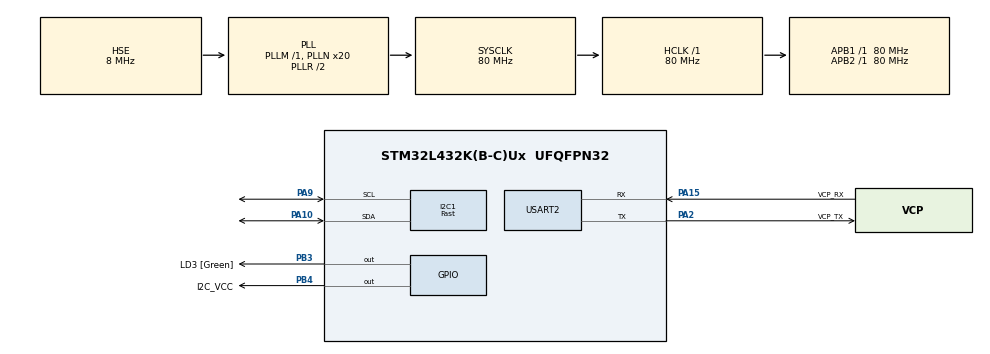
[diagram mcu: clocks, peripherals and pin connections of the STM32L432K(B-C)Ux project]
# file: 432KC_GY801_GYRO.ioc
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I2C1.I2C_Speed_Mode=I2C_Fast
I2C1.Timing=0x00702991
Mcu.Family=STM32L4
Mcu.Name=STM32L432K(B-C)Ux
Mcu.Package=UFQFPN32
NVIC.PriorityGroup=NVIC_PRIORITYGROUP_4
NVIC.RCC_IRQn=true\:0\:0\:false\:false\:true\:true\:false
NVIC.TIM6_DAC_IRQn=true\:0\:0\:false\:false\:true\:true\:true
PA0.GPIO_Label=MCO [High speed clock in]
PA0.Mode=HSE-External-Clock-Source-for-LittleOrca
PA0.Signal=RCC_CK_IN
PA10.Mode=I2C
PA10.Signal=I2C1_SDA
PA13\ (JTMS-SWDIO).GPIO_Label=SWDIO
PA13\ (JTMS-SWDIO).Mode=Serial_Wire
PA13\ (JTMS-SWDIO).Signal=SYS_JTMS-SWDIO
PA14\ (JTCK-SWCLK).GPIO_Label=SWCLK
PA14\ (JTCK-SWCLK).Mode=Serial_Wire
PA14\ (JTCK-SWCLK).Signal=SYS_JTCK-SWCLK
PA15\ (JTDI).GPIO_Label=VCP_RX
PA15\ (JTDI).Mode=Asynchronous
PA15\ (JTDI).Signal=USART2_RX
PA2.GPIO_Label=VCP_TX
PA2.Mode=Asynchronous
PA2.Signal=USART2_TX
PA9.Mode=I2C
PA9.Signal=I2C1_SCL
PB3\ (JTDO-TRACESWO).GPIO_Label=LD3 [Green]
PB3\ (JTDO-TRACESWO).Signal=GPIO_Output
PB4\ (NJTRST).GPIO_Label=I2C_VCC
PB4\ (NJTRST).Signal=GPIO_Output
PC14-OSC32_IN\ (PC14).Mode=LSE-External-Oscillator
PC14-OSC32_IN\ (PC14).Signal=RCC_OSC32_IN
PC15-OSC32_OUT\ (PC15).Mode=LSE-External-Oscillator
PC15-OSC32_OUT\ (PC15).Signal=RCC_OSC32_OUT
ProjectManager.HeapSize=0x200
ProjectManager.StackSize=0x400
ProjectManager.TargetToolchain=STM32CubeIDE
RCC.ADCFreq_Value=32000000
RCC.AHBFreq_Value=80000000
RCC.APB1Freq_Value=80000000
RCC.APB1TimFreq_Value=80000000
RCC.APB2Freq_Value=80000000
RCC.APB2TimFreq_Value=80000000
RCC.CortexFreq_Value=80000000
RCC.HCLKFreq_Value=80000000
RCC.HSE_VALUE=8000000
RCC.HSI16_VALUE=16000000
RCC.HSI48_VALUE=48000000
RCC.HSI_VALUE=16000000
RCC.MSI_VALUE=4000000
RCC.PLLMUL=RCC_PLLMUL_4
RCC.PLLN=20
RCC.PLLSourceVirtual=RCC_PLLSOURCE_HSE
RCC.SYSCLKFreq_VALUE=80000000
RCC.SYSCLKSource=RCC_SYSCLKSOURCE_PLLCLK
RCC.USBFreq_Value=32000000
RCC.VCOOutputFreq_Value=160000000
TIM6.Period=10000-1
TIM6.Prescaler=400-1
USART2.VirtualMode-Asynchronous=VM_ASYNC
VP_TIM6_VS_ClockSourceINT.Mode=Enable_Timer
board=NUCLEO-L432KC

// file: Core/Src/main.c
/* USER CODE BEGIN Header */
/**
  ******************************************************************************
  * @file           : main.c
  * @brief          : Main program body
  ******************************************************************************
  * @attention
  *
  * Copyright (c) 2021 STMicroelectronics.
  * All rights reserved.
  *
  * This software is licensed under terms that can be found in the LICENSE file
  * in the root directory of this software component.
  * If no LICENSE file comes with this software, it is provided AS-IS.
  *
  ******************************************************************************
  */
/* USER CODE END Header */
#include "main.h"

/* USER CODE BEGIN Includes */
#include <stdio.h>
#include <stdbool.h>
#include "L3G4200D.h"      // Gyro Module include
#include "ADXL345.h"       // Acc Module include
#include "HMC5883L.h"      // Compass Module include
#include "BMP180.h"        // Barometer Module include
// code upload Github
/* USER CODE END Includes */

I2C_HandleTypeDef hi2c1;

TIM_HandleTypeDef htim6;

UART_HandleTypeDef huart2;

/* USER CODE BEGIN PV */
volatile bool GyroData=false;

/* USER CODE END PV */

void SystemClock_Config(void);
static void MX_GPIO_Init(void);
static void MX_USART2_UART_Init(void);
static void MX_I2C1_Init(void);
static void MX_TIM6_Init(void);
/* USER CODE BEGIN PFP */
void HAL_TIM_PeriodElapsedCallback(TIM_HandleTypeDef *htim);

/* USER CODE END PFP */

/* USER CODE BEGIN 0 */
void HAL_TIM_PeriodElapsedCallback(TIM_HandleTypeDef *htim)
{
	if(htim->Instance==TIM6)
	{
		if(htim->Instance==TIM6)   GyroData = true;
	}
}

/* USER CODE END 0 */

int main(void)
{

  /* MCU Configuration--------------------------------------------------------*/

  /* Reset of all peripherals, Initializes the Flash interface and the Systick. */
  HAL_Init();

  /* Configure the system clock */
  SystemClock_Config();

  /* Initialize all configured peripherals */
  MX_GPIO_Init();
  MX_USART2_UART_Init();
  MX_I2C1_Init();
  MX_TIM6_Init();
  /* USER CODE BEGIN 2 */

  //  GY-801 Start
  GY_801_Start();

  Init_L3G4200D();
  Init_ADXL345();
  HAL_Delay(100);
  Init_HMC5883L();
  HAL_Delay(100);

  while(HAL_TIM_Base_Start_IT(&htim6)!=HAL_OK);

  /* USER CODE END 2 */

  /* Infinite loop */
  /* USER CODE BEGIN WHILE */

  if(HMC5883L_WhoAmI()==1)
  {
	  printf("HMC5883L OK\r\n");
  }
  else
  {
	  printf("HMC5883L Fail\r\n");
  }

  if(Init_BMP180_Calib_Param(&B)==HAL_OK)
  {
	  printf("%7d%7d%7d%7d%7d%7d\r\n",B.AC1,B.AC2,B.AC3,B.AC4,B.AC5,B.AC6);
  }

  while (1)
  {
    /* USER CODE END WHILE */

    /* USER CODE BEGIN 3 */
	  if(GyroData==true) {

//		  L3G4200D_Read(&G);
//		  ADXL345_Read(&A);

//		  printf("%7d%7d%7d\r\n",A.x,A.y,A.z);
//		  printf("%7d%7d%7d%7d%7d%7d",G.x,G.y,G.z,A.x,A.y,A.z);
//		  printf(",%7.2f\r\n",HMC5883L_Read());
		  printf("%10.4f\r\n",BMP180_GetTempC());
		  GyroData=false;
	  }

  }
  /* USER CODE END 3 */
}

void SystemClock_Config(void)
{
  RCC_OscInitTypeDef RCC_OscInitStruct = {0};
  RCC_ClkInitTypeDef RCC_ClkInitStruct = {0};

  /** Configure the main internal regulator output voltage
  */
  if (HAL_PWREx_ControlVoltageScaling(PWR_REGULATOR_VOLTAGE_SCALE1) != HAL_OK)
  {
    Error_Handler();
  }
  /** Initializes the RCC Oscillators according to the specified parameters
  * in the RCC_OscInitTypeDef structure.
  */
  RCC_OscInitStruct.OscillatorType = RCC_OSCILLATORTYPE_HSE;
  RCC_OscInitStruct.HSEState = RCC_HSE_BYPASS;
  RCC_OscInitStruct.PLL.PLLState = RCC_PLL_ON;
  RCC_OscInitStruct.PLL.PLLSource = RCC_PLLSOURCE_HSE;
  RCC_OscInitStruct.PLL.PLLM = 1;
  RCC_OscInitStruct.PLL.PLLN = 20;
  RCC_OscInitStruct.PLL.PLLP = RCC_PLLP_DIV7;
  RCC_OscInitStruct.PLL.PLLQ = RCC_PLLQ_DIV2;
  RCC_OscInitStruct.PLL.PLLR = RCC_PLLR_DIV2;
  if (HAL_RCC_OscConfig(&RCC_OscInitStruct) != HAL_OK)
  {
    Error_Handler();
  }
  /** Initializes the CPU, AHB and APB buses clocks
  */
  RCC_ClkInitStruct.ClockType = RCC_CLOCKTYPE_HCLK|RCC_CLOCKTYPE_SYSCLK
                              |RCC_CLOCKTYPE_PCLK1|RCC_CLOCKTYPE_PCLK2;
  RCC_ClkInitStruct.SYSCLKSource = RCC_SYSCLKSOURCE_PLLCLK;
  RCC_ClkInitStruct.AHBCLKDivider = RCC_SYSCLK_DIV1;
  RCC_ClkInitStruct.APB1CLKDivider = RCC_HCLK_DIV1;
  RCC_ClkInitStruct.APB2CLKDivider = RCC_HCLK_DIV1;

  if (HAL_RCC_ClockConfig(&RCC_ClkInitStruct, FLASH_LATENCY_4) != HAL_OK)
  {
    Error_Handler();
  }
}

static void MX_I2C1_Init(void)
{

  hi2c1.Instance = I2C1;
  hi2c1.Init.Timing = 0x00702991;
  hi2c1.Init.OwnAddress1 = 0;
  hi2c1.Init.AddressingMode = I2C_ADDRESSINGMODE_7BIT;
  hi2c1.Init.DualAddressMode = I2C_DUALADDRESS_DISABLE;
  hi2c1.Init.OwnAddress2 = 0;
  hi2c1.Init.OwnAddress2Masks = I2C_OA2_NOMASK;
  hi2c1.Init.GeneralCallMode = I2C_GENERALCALL_DISABLE;
  hi2c1.Init.NoStretchMode = I2C_NOSTRETCH_DISABLE;
  if (HAL_I2C_Init(&hi2c1) != HAL_OK)
  {
    Error_Handler();
  }
  /** Configure Analogue filter
  */
  if (HAL_I2CEx_ConfigAnalogFilter(&hi2c1, I2C_ANALOGFILTER_ENABLE) != HAL_OK)
  {
    Error_Handler();
  }
  /** Configure Digital filter
  */
  if (HAL_I2CEx_ConfigDigitalFilter(&hi2c1, 0) != HAL_OK)
  {
    Error_Handler();
  }

}

static void MX_TIM6_Init(void)
{

  TIM_MasterConfigTypeDef sMasterConfig = {0};

  htim6.Instance = TIM6;
  htim6.Init.Prescaler = 400-1;
  htim6.Init.CounterMode = TIM_COUNTERMODE_UP;
  htim6.Init.Period = 10000-1;
  htim6.Init.AutoReloadPreload = TIM_AUTORELOAD_PRELOAD_DISABLE;
  if (HAL_TIM_Base_Init(&htim6) != HAL_OK)
  {
    Error_Handler();
  }
  sMasterConfig.MasterOutputTrigger = TIM_TRGO_RESET;
  sMasterConfig.MasterSlaveMode = TIM_MASTERSLAVEMODE_DISABLE;
  if (HAL_TIMEx_MasterConfigSynchronization(&htim6, &sMasterConfig) != HAL_OK)
  {
    Error_Handler();
  }

}

static void MX_USART2_UART_Init(void)
{

  huart2.Instance = USART2;
  huart2.Init.BaudRate = 115200;
  huart2.Init.WordLength = UART_WORDLENGTH_8B;
  huart2.Init.StopBits = UART_STOPBITS_1;
  huart2.Init.Parity = UART_PARITY_NONE;
  huart2.Init.Mode = UART_MODE_TX_RX;
  huart2.Init.HwFlowCtl = UART_HWCONTROL_NONE;
  huart2.Init.OverSampling = UART_OVERSAMPLING_16;
  huart2.Init.OneBitSampling = UART_ONE_BIT_SAMPLE_DISABLE;
  huart2.AdvancedInit.AdvFeatureInit = UART_ADVFEATURE_NO_INIT;
  if (HAL_UART_Init(&huart2) != HAL_OK)
  {
    Error_Handler();
  }

}

static void MX_GPIO_Init(void)
{
  GPIO_InitTypeDef GPIO_InitStruct = {0};

  /* GPIO Ports Clock Enable */
  __HAL_RCC_GPIOC_CLK_ENABLE();
  __HAL_RCC_GPIOA_CLK_ENABLE();
  __HAL_RCC_GPIOB_CLK_ENABLE();

  /*Configure GPIO pin Output Level */
  HAL_GPIO_WritePin(GPIOB, LD3_Pin|I2C_VCC_Pin, GPIO_PIN_RESET);

  /*Configure GPIO pins : LD3_Pin I2C_VCC_Pin */
  GPIO_InitStruct.Pin = LD3_Pin|I2C_VCC_Pin;
  GPIO_InitStruct.Mode = GPIO_MODE_OUTPUT_PP;
  GPIO_InitStruct.Pull = GPIO_NOPULL;
  GPIO_InitStruct.Speed = GPIO_SPEED_FREQ_LOW;
  HAL_GPIO_Init(GPIOB, &GPIO_InitStruct);

}

/* USER CODE BEGIN 4 */
//**********************************************************************
// printf
//**********************************************************************

#ifdef __GNUC__
int _write(int file,uint8_t*ptr,int len)
{
	HAL_UART_Transmit(&huart2,ptr,len,1000);
return len;
}
#elif (__ICCARM__||__CC_ARM)
int fputc(int c,FILE*stream)
{
	HAL_UART_Transmit(&huart2,(uint8_t*)&c,1,1000);
	return c;
}
#endif

/* USER CODE END 4 */

void Error_Handler(void)
{
  __disable_irq();
  while (1)
  {
  }
}
